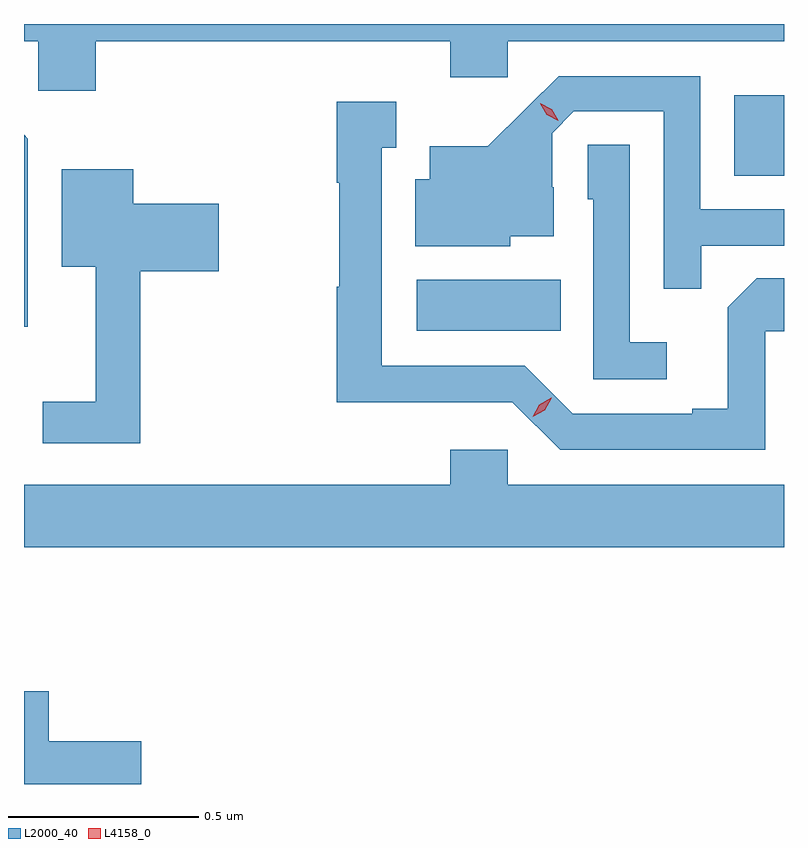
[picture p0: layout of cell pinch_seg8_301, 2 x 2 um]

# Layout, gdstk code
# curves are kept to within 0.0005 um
import gdstk
lib = gdstk.Library(unit=1e-6, precision=1e-09)
def R(c, l, rs):  # rectangles x0, y0, x1, y1
    for r in rs: c.add(gdstk.rectangle(r[:2], r[2:], *l))
def P(c, l, *ps):  # polygons
    for p in ps: c.add(gdstk.Polygon(p, *l))
L2000_40 = (2000, 40)
L4158_0 = (4158, 0)

pinch_seg8_301 = lib.new_cell('pinch_seg8_301')
R(pinch_seg8_301, L2000_40, [(516.774,1150.37,517.154,1150.504), (517.61,1150.778,517.741,1150.99)])
P(pinch_seg8_301, L2000_40, [(515.93,1151.132),(516.863,1151.132),(516.863,1151.037),(517.014,1151.037),(517.014,1151.132),(517.741,1151.132),(517.741,1151.177),(515.741,1151.177),(515.741,1151.132),(515.778,1151.132),(515.778,1151.001),(515.93,1151.001)],
  [(517.523,1150.593),(517.741,1150.593),(517.741,1150.689),(517.521,1150.689),(517.521,1151.04),(517.148,1151.04),(516.961,1150.855),(516.809,1150.855),(516.809,1150.768),(516.77,1150.768),(516.77,1150.592),(517.02,1150.592),(517.02,1150.619),(517.135,1150.619),(517.135,1150.748),(517.131,1150.748),(517.131,1150.89),(517.188,1150.947),(517.425,1150.947),(517.425,1150.48),(517.523,1150.48)],
  [(517.692,1150.368),(517.741,1150.368),(517.741,1150.508),(517.669,1150.508),(517.593,1150.432),(517.593,1150.165),(517.499,1150.165),(517.499,1150.152),(517.185,1150.152),(517.059,1150.278),(516.682,1150.278),(516.682,1150.851),(516.721,1150.851),(516.721,1150.972),(516.564,1150.972),(516.564,1150.759),(516.571,1150.759),(516.571,1150.485),(516.564,1150.485),(516.564,1150.181),(516.804,1150.181),(516.804,1150.182),(517.026,1150.182),(517.152,1150.056),(517.692,1150.056)],
  [(515.751,1150.875),(515.741,1150.885),(515.741,1150.38),(515.751,1150.38)],
  [(517.432,1150.339),(517.335,1150.339),(517.335,1150.859),(517.224,1150.859),(517.224,1150.716),(517.239,1150.716),(517.239,1150.242),(517.432,1150.242)],
  [(516.047,1150.526),(516.253,1150.526),(516.253,1150.704),(516.028,1150.704),(516.028,1150.795),(515.84,1150.795),(515.84,1150.538),(515.93,1150.538),(515.93,1150.183),(515.79,1150.183),(515.79,1150.074),(516.047,1150.074)],
  [(517.741,1149.964),(517.014,1149.964),(517.014,1150.057),(516.863,1150.057),(516.863,1149.964),(515.741,1149.964),(515.741,1149.8),(517.741,1149.8)],
  [(516.049,1149.29),(515.806,1149.29),(515.806,1149.421),(515.741,1149.421),(515.741,1149.177),(516.049,1149.177)])
P(pinch_seg8_301, L4158_0, [(517.147,1150.923),(517.116,1150.938),(517.099,1150.967),(517.099,1150.968),(517.1,1150.968),(517.13,1150.953),(517.147,1150.924),(517.147,1150.923)],
  [(517.08,1150.143),(517.08,1150.143),(517.097,1150.175),(517.129,1150.194),(517.13,1150.194),(517.13,1150.194),(517.112,1150.161),(517.08,1150.143)])

lib.write_gds('pinch_seg8_301.gds')
